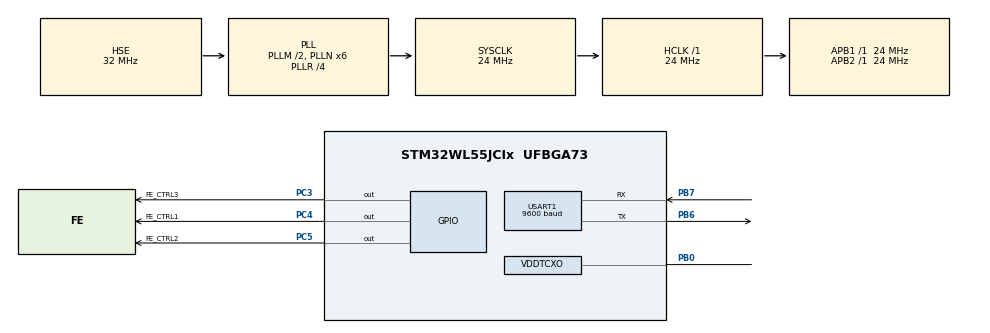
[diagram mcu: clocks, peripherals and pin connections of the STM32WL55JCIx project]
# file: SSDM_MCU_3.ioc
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Mcu.Family=STM32WL
Mcu.Name=STM32WL55JCIx
Mcu.Package=UFBGA73
NVIC.PriorityGroup=NVIC_PRIORITYGROUP_4
NVIC.SUBGHZ_Radio_IRQn=true\:1\:0\:true\:false\:true\:true\:true
NVIC.USART1_IRQn=true\:0\:0\:false\:false\:true\:true\:true
OSC_IN.Mode=HSE-TCXO
OSC_IN.Signal=RCC_OSC_IN
PA13.Mode=Trace_Asynchronous_SW
PA13.Signal=DEBUG_JTMS-SWDIO
PA14.Mode=Trace_Asynchronous_SW
PA14.Signal=DEBUG_JTCK-SWCLK
PB0-VDD_TCXO.Mode=HSE-TCXO
PB0-VDD_TCXO.Signal=VDDTCXO
PB3.Mode=Trace_Asynchronous_SW
PB3.Signal=DEBUG_JTDO-SWO
PB6.Mode=Asynchronous
PB6.Signal=USART1_TX
PB7.Mode=Asynchronous
PB7.Signal=USART1_RX
PC14-OSC32_IN.Signal=RCC_OSC32_IN
PC15-OSC32_OUT.Signal=RCC_OSC32_OUT
PC3.GPIO_Label=FE_CTRL3
PC3.Signal=GPIO_Output
PC4.GPIO_Label=FE_CTRL1
PC4.Signal=GPIO_Output
PC5.GPIO_Label=FE_CTRL2
PC5.Signal=GPIO_Output
ProjectManager.HeapSize=0x200
ProjectManager.StackSize=0x400
ProjectManager.TargetToolchain=STM32CubeIDE
RCC.AHBFreq_Value=24000000
RCC.APB1Freq_Value=24000000
RCC.APB1TimFreq_Value=24000000
RCC.APB2Freq_Value=24000000
RCC.APB2TimFreq_Value=24000000
RCC.APB3Freq_Value=24000000
RCC.CortexFreq_Value=24000000
RCC.HCLKFreq_Value=24000000
RCC.HSE_VALUE=32000000
RCC.HSI_VALUE=16000000
RCC.LSE_VALUE=32768
RCC.PLLM=RCC_PLLM_DIV2
RCC.PLLN=6
RCC.PLLR=RCC_PLLR_DIV4
RCC.PLLSourceVirtual=RCC_PLLSOURCE_HSE
RCC.SYSCLKFreq_VALUE=24000000
RCC.SYSCLKSource=RCC_SYSCLKSOURCE_PLLCLK
RCC.VCOOutputFreq_Value=96000000
SubGHz_Phy.BSP.number=3
SubGHz_Phy0.BSP.STBoard=false
SubGHz_Phy0.BSP.api=Unknown
SubGHz_Phy0.BSP.condition=SEM_RADIO_BOARD_INTERFACE_FOR_SUBGHZ_PHY
SubGHz_Phy0.BSP.i2caddr=0
SubGHz_Phy0.BSP.instance=PC3
SubGHz_Phy0.BSP.ip=GPIO
SubGHz_Phy0.BSP.mode=Output
SubGHz_Phy0.BSP.name=RF SW CTRL 3
SubGHz_Phy0.BSP.solution=PC3
SubGHz_Phy1.BSP.STBoard=false
SubGHz_Phy1.BSP.api=Unknown
SubGHz_Phy1.BSP.condition=SEM_RADIO_BOARD_INTERFACE_FOR_SUBGHZ_PHY
SubGHz_Phy1.BSP.i2caddr=0
SubGHz_Phy1.BSP.instance=PC4
SubGHz_Phy1.BSP.ip=GPIO
SubGHz_Phy1.BSP.mode=Output
SubGHz_Phy1.BSP.name=RF SW CTRL 1
SubGHz_Phy1.BSP.solution=PC4
SubGHz_Phy2.BSP.STBoard=false
SubGHz_Phy2.BSP.api=Unknown
SubGHz_Phy2.BSP.condition=SEM_RADIO_BOARD_INTERFACE_FOR_SUBGHZ_PHY
SubGHz_Phy2.BSP.i2caddr=0
SubGHz_Phy2.BSP.instance=PC5
SubGHz_Phy2.BSP.ip=GPIO
SubGHz_Phy2.BSP.mode=Output
SubGHz_Phy2.BSP.name=RF SW CTRL 2
SubGHz_Phy2.BSP.solution=PC5
USART1.BaudRate=9600
USART1.VirtualMode-Asynchronous=VM_ASYNC
VP_ADV_TRACE_VS_ADV_TRACE.Mode=ADV_TRACE_Enabled
VP_MISC_VS_MISC.Mode=MISC_Enabled
VP_SEQUENCER_M4_VS_SEQUENCER.Mode=SEQUENCER_Enabled
VP_SUBGHZ_PHY_VS_SubGhzPhy.Mode=SubGhzPhy_Enabled
VP_SUBGHZ_VS_SUBGHZ.Mode=SUBGHZ_Activate
VP_TIMER_VS_TIMER.Mode=TIMER_Enabled
VP_TINY_LPM_VS_TINY_LPM.Mode=TINY_LPM_Enabled
board=NUCLEO-WL55JC2

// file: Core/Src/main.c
/* USER CODE BEGIN Header */
/**
  ******************************************************************************
  * @file           : main.c
  * @brief          : Main program body
  ******************************************************************************
  * @attention
  *
  * <h2><center>&copy; Copyright (c) 2021 STMicroelectronics.
  * All rights reserved.</center></h2>
  *
  * This software component is licensed by ST under Ultimate Liberty license
  * SLA0044, the "License"; You may not use this file except in compliance with
  * the License. You may obtain a copy of the License at:
  *                             www.st.com/SLA0044
  *
  ******************************************************************************
  */
/* USER CODE END Header */
#include "main.h"
#include "app_subghz_phy.h"

/* USER CODE BEGIN Includes */
#include "radio_driver.h"
#include <stdio.h>
/* USER CODE END Includes */

/* USER CODE BEGIN PM */

// packet type
#define PAYLOAD_LENGTH          (40)

#define FREQ_433_MHZ            (433000000)

#define PA_DUTY_CYCLE           (0x04)
#define HP_MAX                  (0x07)
#define PA_SEL                  (0x00)

#define POWER                   (0x00)
#define RAMP_TIME               (0x06)

/* USER CODE END PM */

SUBGHZ_HandleTypeDef hsubghz;

UART_HandleTypeDef huart1;

/* USER CODE BEGIN PV */
uint8_t rx_buf[PAYLOAD_LENGTH]={0};
uint8_t p_len = PAYLOAD_LENGTH;
uint8_t temp_tx[2];

/* USER CODE END PV */

void SystemClock_Config(void);
static void MX_GPIO_Init(void);
static void MX_USART1_UART_Init(void);
/* USER CODE BEGIN PFP */
void DioIrqHndlr(RadioIrqMasks_t radioIrq);
void Activate_ADC(void);
void ConversionStartPoll_ADC_GrpRegular(void);
/* USER CODE END PFP */

int main(void)
{

  /* MCU Configuration--------------------------------------------------------*/

  /* Reset of all peripherals, Initializes the Flash interface and the Systick. */
  HAL_Init();

  /* Configure the system clock */
  SystemClock_Config();

  /* Initialize all configured peripherals */
  MX_GPIO_Init();
  MX_SUBGHZ_Init();
  MX_SubGHz_Phy_Init();
  MX_USART1_UART_Init();

  /* USER CODE BEGIN 2 */

  PacketParams_t pkt_params;
    pkt_params.PacketType = PACKET_TYPE_LORA;
    pkt_params.Params.LoRa.PayloadLength = PAYLOAD_LENGTH;
    pkt_params.Params.LoRa.PreambleLength = 8;
    pkt_params.Params.LoRa.HeaderType = RADIO_PREAMBLE_DETECTOR_08_BITS;
    pkt_params.Params.LoRa.CrcMode = LORA_CRC_ON;
    pkt_params.Params.LoRa.InvertIQ = RADIO_ADDRESSCOMP_FILT_OFF;

    ModulationParams_t mod_params;
    mod_params.PacketType = PACKET_TYPE_LORA;
    mod_params.Params.LoRa.Bandwidth = LORA_BW_125;
    mod_params.Params.LoRa.SpreadingFactor = LORA_SF12;
    mod_params.Params.LoRa.CodingRate = LORA_CR_4_8;
    mod_params.Params.LoRa.LowDatarateOptimize = 1;

    SUBGRF_Init(DioIrqHndlr);
    SUBGRF_SetBufferBaseAddress(0x00, 0x00);
    SUBGRF_SetPayload(rx_buf, PAYLOAD_LENGTH );
    SUBGRF_SetPacketParams(&pkt_params);
    SUBGRF_SetSyncWord( ( uint8_t[] ){ 0xC1, 0x94, 0xC1, 0x00, 0x00, 0x00, 0x00, 0x00 } );
    SUBGRF_SetWhiteningSeed( 0x01FF );
    SUBGRF_SetRfFrequency(FREQ_433_MHZ);
    SUBGRF_SetPaConfig(PA_DUTY_CYCLE, HP_MAX, PA_SEL, 0x01);
    SUBGRF_SetTxParams(RFO_LP, POWER, RAMP_TIME);
    SUBGRF_SetModulationParams(&mod_params);
    SUBGRF_SetDioIrqParams(IRQ_TX_DONE | IRQ_PREAMBLE_DETECTED | IRQ_RX_DONE | IRQ_RX_TX_TIMEOUT | IRQ_SYNCWORD_VALID,
            IRQ_TX_DONE | IRQ_PREAMBLE_DETECTED | IRQ_RX_DONE | IRQ_RX_TX_TIMEOUT | IRQ_SYNCWORD_VALID,
            IRQ_RADIO_NONE,
            IRQ_RADIO_NONE);

    SUBGRF_SetSwitch(0, RFSWITCH_RX); /*Set RF switch*/
     	       //SUBGRF_WriteRegister( REG_RX_GAIN, 0x7F );
     	    SUBGRF_SetRxBoosted(0xFFFFFF);
    //SUBGRF_SetRx(0xFFFFFF);
  /* USER CODE END 2 */

  /* Infinite loop */
  while (1){
    MX_SubGHz_Phy_Process();

  }
}

void SystemClock_Config(void)
{
  RCC_OscInitTypeDef RCC_OscInitStruct = {0};
  RCC_ClkInitTypeDef RCC_ClkInitStruct = {0};

  /** Configure the main internal regulator output voltage
  */
  __HAL_PWR_VOLTAGESCALING_CONFIG(PWR_REGULATOR_VOLTAGE_SCALE1);
  /** Initializes the CPU, AHB and APB busses clocks
  */
  RCC_OscInitStruct.OscillatorType = RCC_OSCILLATORTYPE_HSE;
  RCC_OscInitStruct.HSEState = RCC_HSE_BYPASS_PWR;
  RCC_OscInitStruct.HSEDiv = RCC_HSE_DIV1;
  RCC_OscInitStruct.PLL.PLLState = RCC_PLL_ON;
  RCC_OscInitStruct.PLL.PLLSource = RCC_PLLSOURCE_HSE;
  RCC_OscInitStruct.PLL.PLLM = RCC_PLLM_DIV2;
  RCC_OscInitStruct.PLL.PLLN = 6;
  RCC_OscInitStruct.PLL.PLLP = RCC_PLLP_DIV2;
  RCC_OscInitStruct.PLL.PLLR = RCC_PLLR_DIV4;
  RCC_OscInitStruct.PLL.PLLQ = RCC_PLLQ_DIV2;
  if (HAL_RCC_OscConfig(&RCC_OscInitStruct) != HAL_OK)
  {
    Error_Handler();
  }
  /** Configure the SYSCLKSource, HCLK, PCLK1 and PCLK2 clocks dividers
  */
  RCC_ClkInitStruct.ClockType = RCC_CLOCKTYPE_HCLK3|RCC_CLOCKTYPE_HCLK
                              |RCC_CLOCKTYPE_SYSCLK|RCC_CLOCKTYPE_PCLK1
                              |RCC_CLOCKTYPE_PCLK2;
  RCC_ClkInitStruct.SYSCLKSource = RCC_SYSCLKSOURCE_PLLCLK;
  RCC_ClkInitStruct.AHBCLKDivider = RCC_SYSCLK_DIV1;
  RCC_ClkInitStruct.APB1CLKDivider = RCC_HCLK_DIV1;
  RCC_ClkInitStruct.APB2CLKDivider = RCC_HCLK_DIV1;
  RCC_ClkInitStruct.AHBCLK3Divider = RCC_SYSCLK_DIV1;

  if (HAL_RCC_ClockConfig(&RCC_ClkInitStruct, FLASH_LATENCY_1) != HAL_OK)
  {
    Error_Handler();
  }
}

void MX_SUBGHZ_Init(void)
{

  hsubghz.Init.BaudratePrescaler = SUBGHZSPI_BAUDRATEPRESCALER_8;
  if (HAL_SUBGHZ_Init(&hsubghz) != HAL_OK)
  {
    Error_Handler();
  }

}

static void MX_USART1_UART_Init(void)
{

  huart1.Instance = USART1;
  huart1.Init.BaudRate = 115200;
  huart1.Init.WordLength = UART_WORDLENGTH_8B;
  huart1.Init.StopBits = UART_STOPBITS_1;
  huart1.Init.Parity = UART_PARITY_NONE;
  huart1.Init.Mode = UART_MODE_TX_RX;
  huart1.Init.HwFlowCtl = UART_HWCONTROL_NONE;
  huart1.Init.OverSampling = UART_OVERSAMPLING_16;
  huart1.Init.OneBitSampling = UART_ONE_BIT_SAMPLE_DISABLE;
  huart1.Init.ClockPrescaler = UART_PRESCALER_DIV1;
  huart1.AdvancedInit.AdvFeatureInit = UART_ADVFEATURE_NO_INIT;
  if (HAL_UART_Init(&huart1) != HAL_OK)
  {
    Error_Handler();
  }
  if (HAL_UARTEx_SetTxFifoThreshold(&huart1, UART_TXFIFO_THRESHOLD_1_8) != HAL_OK)
  {
    Error_Handler();
  }
  if (HAL_UARTEx_SetRxFifoThreshold(&huart1, UART_RXFIFO_THRESHOLD_1_8) != HAL_OK)
  {
    Error_Handler();
  }
  if (HAL_UARTEx_DisableFifoMode(&huart1) != HAL_OK)
  {
    Error_Handler();
  }

}

static void MX_GPIO_Init(void)
{
  GPIO_InitTypeDef GPIO_InitStruct = {0};

  /* GPIO Ports Clock Enable */
  __HAL_RCC_GPIOA_CLK_ENABLE();
  __HAL_RCC_GPIOC_CLK_ENABLE();
  __HAL_RCC_GPIOB_CLK_ENABLE();

  /*Configure GPIO pin Output Level */
  HAL_GPIO_WritePin(GPIOC, FE_CTRL3_Pin|FE_CTRL2_Pin|FE_CTRL1_Pin, GPIO_PIN_RESET);

  /*Configure GPIO pins : FE_CTRL3_Pin FE_CTRL2_Pin FE_CTRL1_Pin */
  GPIO_InitStruct.Pin = FE_CTRL3_Pin|FE_CTRL2_Pin|FE_CTRL1_Pin;
  GPIO_InitStruct.Mode = GPIO_MODE_OUTPUT_PP;
  GPIO_InitStruct.Pull = GPIO_NOPULL;
  GPIO_InitStruct.Speed = GPIO_SPEED_FREQ_LOW;
  HAL_GPIO_Init(GPIOC, &GPIO_InitStruct);

}

/* USER CODE BEGIN 4 */

void DioIrqHndlr( RadioIrqMasks_t radioIrq )
{
    switch (radioIrq) {
        case IRQ_RX_DONE:
//            for (int i = 0; i < 10; ++i) {
////                HAL_GPIO_TogglePin(LED1_GPIO_Port, LED1_Pin);
//                for (int i = 0; i < 100000; ++i) {}
//            }
            SUBGRF_GetPayload(rx_buf, &p_len, PAYLOAD_LENGTH);
            if (HAL_UART_Transmit(&huart1, rx_buf, p_len, 2000) == HAL_OK){
            	memset(rx_buf, '\0', PAYLOAD_LENGTH);
            }
            break;
        case IRQ_PREAMBLE_DETECTED:
//            for (int i = 0; i < 10; ++i) {
////                HAL_GPIO_TogglePin(LED2_GPIO_Port, LED2_Pin);
//                for (int i = 0; i < 100000; ++i) {}
////                SUBGRF_GetPayload(rx_buf, &p_len, PAYLOAD_LENGTH);
//
//            }
            break;
        case IRQ_SYNCWORD_VALID:
//            for (int i = 0; i < 10; ++i) {
////                HAL_GPIO_TogglePin(LED3_GPIO_Port, LED3_Pin);
//                for (int i = 0; i < 100000; ++i) {}
//            }
            break;
        case IRQ_HEADER_VALID:

            break;
        case IRQ_HEADER_ERROR:

            break;
        case IRQ_CRC_ERROR:

            break;
        case IRQ_CAD_CLEAR:

            break;
        case IRQ_CAD_DETECTED:

            break;
        case IRQ_RX_TX_TIMEOUT:

            break;
    }
}

/* USER CODE END 4 */

void Error_Handler(void)
{
  __disable_irq();
  while (1)
  {
  }
}

/************************ (C) COPYRIGHT STMicroelectronics *****END OF FILE****/
